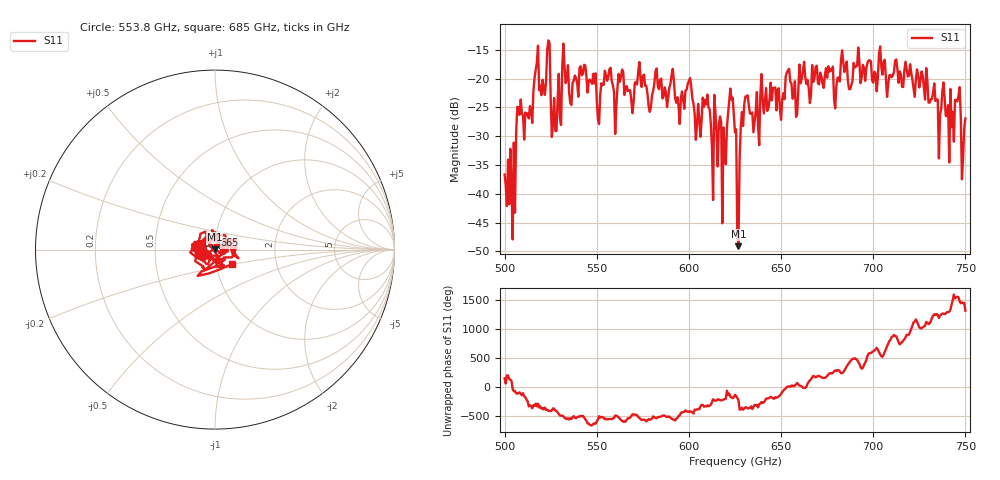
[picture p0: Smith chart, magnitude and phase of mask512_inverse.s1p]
!Created with skrf (http://scikit-rf.org).
# GHz S MA R 50.0
!freq magS11 angS11
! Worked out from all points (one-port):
!   401 points, 500 GHz to 750 GHz, reference 50 ohm
!   lowest |S11| = -49.1 dB at 626.9 GHz (marker M1), VSWR 1.01, Z = 49.8 + j0.254 ohm
!   |S11| at or under -10 dB: start of sweep to end of sweep
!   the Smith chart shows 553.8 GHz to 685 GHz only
!   S11 on the Smith chart (normalised r, x): 553.8 GHz: 0.84, -0.03; 665 GHz: 0.98, +0.16; 685 GHz: 1.20, -0.20
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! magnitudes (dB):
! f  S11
! 500 GHz  -36.7
! 505 GHz  -31.1
! 507.5 GHz  -24.9
! 513.8 GHz  -24.8
! 516.9 GHz  -18.5
! 520.6 GHz  -20.2
! 523.8 GHz  -13.4
! 526.9 GHz  -23.4
! 531.2 GHz  -18.2
! 542.5 GHz  -19.2
! 551.2 GHz  -27.9
! 553.8 GHz  -21.1
! 562.5 GHz  -20.6
! 578.8 GHz  -25.8
! 590.6 GHz  -19.3
! 593.8 GHz  -23.2
! 610 GHz  -22.8
! 619.4 GHz  -32.1
! 623.1 GHz  -23.7
! 625 GHz  -29.4
! 626.9 GHz  -49.1
! 631.2 GHz  -23.1
! 656.2 GHz  -23.5
! 665 GHz  -21.7
! 685 GHz  -18.0
! 687.5 GHz  -21.9
! 718.8 GHz  -19.6
! 750 GHz  -26.9
